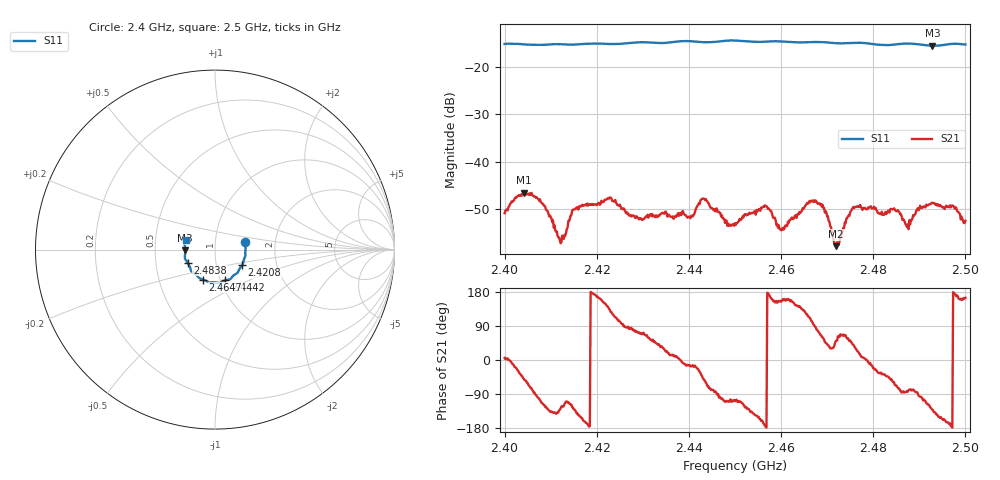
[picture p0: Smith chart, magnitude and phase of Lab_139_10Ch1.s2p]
# Hz S RI R 50
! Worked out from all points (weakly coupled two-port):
!   601 points, 2.4 GHz to 2.5 GHz, reference 50 ohm
!   highest |S21| = -46.48 dB at 2.4042 GHz (marker M1); lowest = -57.7 dB at 2.4718 GHz (marker M2)
!   lowest |S11| = -15.6 dB at 2.4928 GHz (marker M3), VSWR 1.40, Z = 35.8 - j0.368 ohm
!   |S11| at or under -10 dB: start of sweep to end of sweep
!   S12 and S22 are empty: the file has one direction only
!   S11 on the Smith chart (normalised r, x): 2.4 GHz: 1.40, +0.12; 2.4208 GHz: 1.33, -0.24; 2.4442 GHz: 1.05, -0.37; 2.4647 GHz: 0.83, -0.29; 2.4838 GHz: 0.73, -0.11; 2.5 GHz: 0.72, +0.08
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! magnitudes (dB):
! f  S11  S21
! 2.4 GHz  -15.2  -50.8
! 2.4042 GHz  -15.3  -46.5
! 2.4082 GHz  -15.4  -48.7
! 2.4123 GHz  -15.3  -56.9
! 2.4167 GHz  -15.2  -49.3
! 2.4208 GHz  -15.2  -48.8
! 2.4333 GHz  -15.0  -51.3
! 2.4403 GHz  -14.7  -51.8
! 2.4442 GHz  -14.9  -48.6
! 2.45 GHz  -14.5  -52.9
! 2.4565 GHz  -14.8  -49.1
! 2.4602 GHz  -14.7  -54.0
! 2.4647 GHz  -14.9  -49.7
! 2.4667 GHz  -14.8  -48.2
! 2.4693 GHz  -14.9  -49.7
! 2.4718 GHz  -15.1  -57.7
! 2.476 GHz  -15.0  -49.4
! 2.4833 GHz  -15.5  -50.2
! 2.4838 GHz  -15.4  -49.9
! 2.4875 GHz  -15.2  -53.1
! 2.4928 GHz  -15.6  -48.6
! 2.5 GHz  -15.3  -52.4
